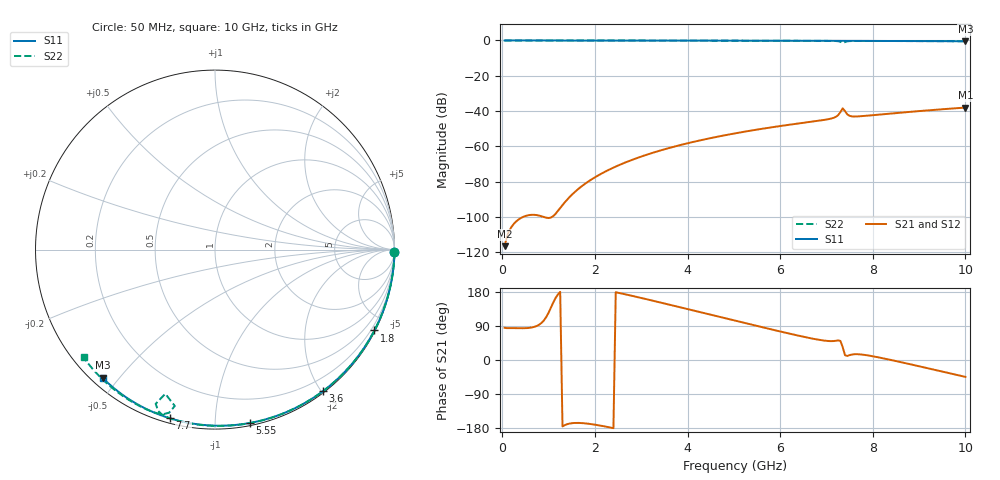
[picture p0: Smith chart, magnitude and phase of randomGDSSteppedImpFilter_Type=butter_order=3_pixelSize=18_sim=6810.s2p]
! freq	dB(S11)	phase(S11)	dB(S12)	phase(S12)
!  dB(S21)	phase(S21)	dB(S22)	phase(S22)
!S-par simulation data
#  GHz  S  DB  R 50
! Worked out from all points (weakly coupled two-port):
!   200 points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, 50 MHz to 10 GHz, reference 50 ohm
!   highest |S21| = -38.01 dB at 10 GHz (marker M1); lowest = -116.5 dB at 50 MHz (marker M2)
!   lowest |S11| = -0.4 dB at 10 GHz (marker M3), VSWR 39.11, Z = 1.54 - j22.6 ohm
!   |S11| at or under -10 dB: nowhere
!   |S22| runs from -1.4 to 0.0 dB; largest |S21 - S12| = 0
!   S11 on the Smith chart (normalised r, x): 50 MHz: open; 1.8 GHz: 0.04, -4.18; 3.6 GHz: 0.02, -2.02; 5.55 GHz: 0.02, -1.22; 7.7 GHz: 0.02, -0.77; 10 GHz: 0.03, -0.45
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0.05  -0.00 -0.8  -116.51 85.0  -116.51 85.0  -0.00 -0.8
0.9  -0.02 -13.6  -100.02 104.7  -100.02 104.7  -0.02 -14.6
1.75  -0.03 -26.2  -81.87 -166.8  -81.87 -166.8  -0.04 -28.1
1.8  -0.03 -26.9  -80.92 -167.3  -80.92 -167.3  -0.04 -28.9
1.85  -0.04 -27.6  -80.02 -168.0  -80.02 -168.0  -0.04 -29.7
2.15  -0.04 -32.0  -75.28 -173.8  -75.28 -173.8  -0.04 -34.4
2.55  -0.05 -37.8  -70.27 176.2  -70.27 176.2  -0.05 -40.6
3.4  -0.07 -49.8  -62.42 152.1  -62.42 152.1  -0.07 -53.4
3.6  -0.07 -52.6  -60.93 146.2  -60.93 146.2  -0.08 -56.4
4.3  -0.09 -62.2  -56.42 125.4  -56.42 125.4  -0.09 -66.6
5.05  -0.11 -72.1  -52.50 103.0  -52.50 103.0  -0.12 -77.3
5.55  -0.13 -78.6  -50.28 88.3  -50.28 88.3  -0.14 -84.2
6.7  -0.18 -92.9  -45.93 56.4  -45.93 56.4  -0.20 -99.9
7.2  -0.21 -99.0  -43.31 50.7  -43.31 50.7  -0.32 -108.0
7.3  -0.21 -100.2  -40.62 50.4  -40.62 50.4  -0.72 -111.0
7.35  -0.22 -100.7  -38.43 34.2  -38.43 34.2  -1.41 -109.0
7.4  -0.22 -101.4  -39.95 12.7  -39.95 12.7  -0.92 -104.4
7.45  -0.22 -102.0  -41.90 10.7  -41.90 10.7  -0.50 -105.7
7.5  -0.22 -102.5  -42.70 12.8  -42.70 12.8  -0.37 -107.2
7.7  -0.24 -104.9  -42.98 15.1  -42.98 15.1  -0.28 -111.1
8.35  -0.29 -112.5  -41.47 1.2  -41.47 1.2  -0.31 -120.0
10  -0.44 -131.2  -38.01 -44.6  -38.01 -44.6  -0.47 -140.6
